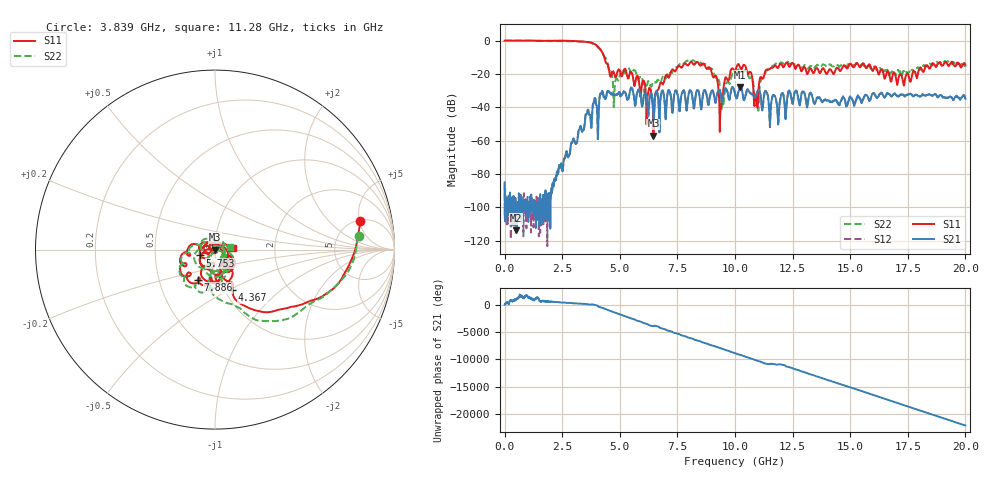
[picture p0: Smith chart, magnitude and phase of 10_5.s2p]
#  HZ  S  RI  R  50.00
! Rohde & Schwarz Vector Network Analyzer
! Rohde-Schwarz,ZNB20-2Port,1311601062102128,3.60
! Created: UTC 4/29/2024, 2:55:46 PM
! freq[Hz]  re:S11  im:S11  re:S21  im:S21  re:S12  im:S12  re:S22  im:S22
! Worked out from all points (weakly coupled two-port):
!   2007 points, 100 kHz to 20 GHz, reference 50 ohm
!   highest |S21| = -27.75 dB at 10.22 GHz (marker M1); lowest = -113.8 dB at 498.6 MHz (marker M2)
!   lowest |S11| = -57.0 dB at 6.461 GHz (marker M3), VSWR 1.00, Z = 50.1 + j0.0212 ohm
!   |S11| at or under -10 dB: 4.326 GHz to end of sweep
!   |S22| runs from -42.0 to 0.1 dB; largest |S21 - S12| = 0.0026
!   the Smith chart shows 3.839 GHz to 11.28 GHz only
!   S11 on the Smith chart (normalised r, x): 3.839 GHz: 5.16, +5.19; 4.367 GHz: 1.08, -0.52; 5.753 GHz: 0.85, -0.06; 7.886 GHz: 0.78, -0.28; 11.28 GHz: 1.22, +0.02
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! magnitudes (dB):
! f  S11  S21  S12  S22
! 100 kHz  0.0  -84.9  -85.2  0.1
! 498.6 MHz  0.0  -113.8  -100.4  0.0
! 2.243 GHz  0.0  -81.0  -80.4  -0.3
! 3.34 GHz  -0.6  -53.8  -53.6  -0.6
! 3.839 GHz  -1.7  -38.2  -37.7  -1.9
! 4.367 GHz  -12.2  -35.1  -34.9  -10.1
! 4.776 GHz  -20.8  -32.4  -32.2  -28.3
! 5.753 GHz  -21.0  -31.4  -31.5  -22.7
! 6.461 GHz  -57.0  -45.7  -46.0  -24.7
! 6.67 GHz  -29.2  -35.1  -35.2  -23.6
! 7.886 GHz  -14.2  -40.5  -40.6  -12.2
! 8.903 GHz  -16.2  -34.0  -33.9  -16.9
! 9.392 GHz  -39.2  -33.3  -33.4  -35.6
! 9.591 GHz  -22.0  -28.7  -28.7  -27.8
! 10 GHz  -18.6  -31.7  -31.7  -19.6
! 10.22 GHz  -16.0  -27.8  -27.7  -17.0
! 10.68 GHz  -19.0  -31.6  -31.6  -22.1
! 10.91 GHz  -33.2  -32.7  -32.7  -35.5
! 11.28 GHz  -20.2  -31.7  -31.6  -21.2
! 13.34 GHz  -18.0  -32.9  -32.8  -15.2
! 16.67 GHz  -19.1  -32.0  -31.9  -20.5
! 20 GHz  -14.6  -34.9  -34.7  -14.4
